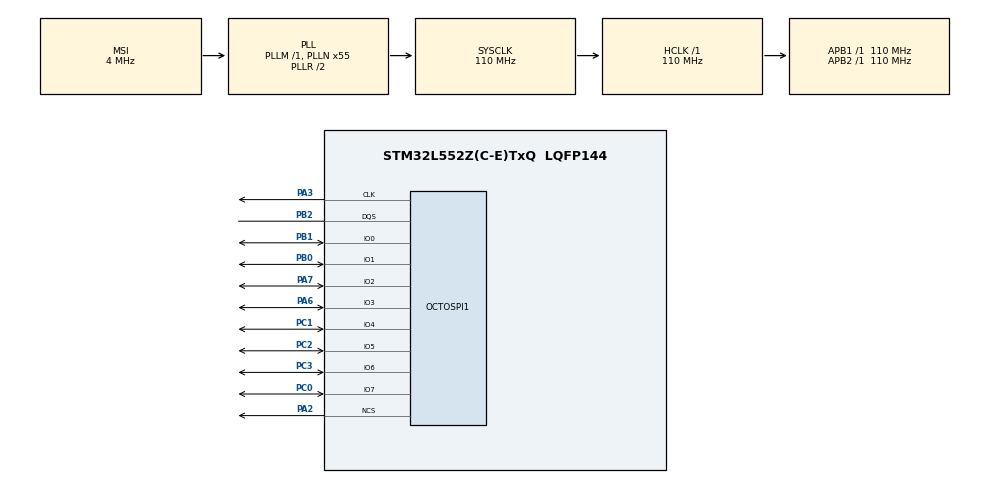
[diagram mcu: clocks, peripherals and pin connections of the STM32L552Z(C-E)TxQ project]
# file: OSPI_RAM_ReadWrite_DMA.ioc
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Dma.OCTOSPI1.0.Channel_PRIV_NPRIV=DMA_CHANNEL_NPRIV_DISABLE
Dma.OCTOSPI1.0.Direction=DMA_PERIPH_TO_MEMORY
Dma.OCTOSPI1.0.EventEnable=DISABLE
Dma.OCTOSPI1.0.Instance=DMA1_Channel1
Dma.OCTOSPI1.0.MemDataAlignment=DMA_MDATAALIGN_BYTE
Dma.OCTOSPI1.0.MemInc=DMA_MINC_ENABLE
Dma.OCTOSPI1.0.Mode=DMA_NORMAL
Dma.OCTOSPI1.0.PeriphDataAlignment=DMA_PDATAALIGN_BYTE
Dma.OCTOSPI1.0.PeriphInc=DMA_PINC_DISABLE
Dma.OCTOSPI1.0.Polarity=HAL_DMAMUX_REQ_GEN_RISING
Dma.OCTOSPI1.0.Priority=DMA_PRIORITY_LOW
Dma.OCTOSPI1.0.RequestNumber=1
Dma.OCTOSPI1.0.SignalID=NONE
Dma.OCTOSPI1.0.SyncEnable=DISABLE
Dma.OCTOSPI1.0.SyncPolarity=HAL_DMAMUX_SYNC_NO_EVENT
Dma.OCTOSPI1.0.SyncRequestNumber=1
Dma.OCTOSPI1.0.SyncSignalID=NONE
Dma.Request0=OCTOSPI1
Mcu.Family=STM32L5
Mcu.Name=STM32L552Z(C-E)TxQ
Mcu.Package=LQFP144
NVIC.DMA1_Channel1_IRQn=true\:0\:0\:false\:false\:true\:false\:true\:true
NVIC.OCTOSPI1_IRQn=true\:0\:0\:false\:false\:true\:true\:true\:true
NVIC.PriorityGroup=NVIC_PRIORITYGROUP_3
OCTOSPI1.AccessTime=6
OCTOSPI1.ClockPrescaler=3
OCTOSPI1.DelayBlockBypass=HAL_OSPI_DELAY_BLOCK_USED
OCTOSPI1.DelayHoldQuarterCycle=HAL_OSPI_DHQC_ENABLE
OCTOSPI1.DeviceSize=23
OCTOSPI1.FifoThreshold=2
OCTOSPI1.LatencyMode=HAL_OSPI_FIXED_LATENCY
OCTOSPI1.RWRecoveryTime=3
OCTOSPI1.WriteZeroLatency=HAL_OSPI_LATENCY_ON_WRITE
PA2.GPIO_PuPd=GPIO_PULLUP
PA2.Mode=hyperbus_mode
PA2.Signal=OCTOSPI1_NCS
PA3.Mode=hyperbus_mode
PA3.Signal=OCTOSPI1_CLK
PA6.Mode=hyperbus_mode
PA6.Signal=OCTOSPI1_IO3
PA7.Mode=hyperbus_mode
PA7.Signal=OCTOSPI1_IO2
PB0.Mode=hyperbus_mode
PB0.Signal=OCTOSPI1_IO1
PB1.Mode=hyperbus_mode
PB1.Signal=OCTOSPI1_IO0
PB2.Mode=hyperbus_mode
PB2.Signal=OCTOSPI1_DQS
PC0.Mode=hyperbus_mode
PC0.Signal=OCTOSPI1_IO7
PC1.Mode=hyperbus_mode
PC1.Signal=OCTOSPI1_IO4
PC2.Mode=hyperbus_mode
PC2.Signal=OCTOSPI1_IO5
PC3.Mode=hyperbus_mode
PC3.Signal=OCTOSPI1_IO6
ProjectManager.HeapSize=0x200
ProjectManager.StackSize=0x400
ProjectManager.TargetToolchain=EWARM V8.32
RCC.AHBFreq_Value=110000000
RCC.APB1Freq_Value=110000000
RCC.APB1TimFreq_Value=110000000
RCC.APB2Freq_Value=110000000
RCC.APB2TimFreq_Value=110000000
RCC.CortexFreq_Value=110000000
RCC.HCLKFreq_Value=110000000
RCC.HSE_VALUE=16000000
RCC.HSI48_VALUE=48000000
RCC.HSI_VALUE=16000000
RCC.LSE_VALUE=32768
RCC.MSI_VALUE=4000000
RCC.PLLN=55
RCC.SYSCLKFreq_VALUE=110000000
RCC.SYSCLKSource=RCC_SYSCLKSOURCE_PLLCLK
RCC.VCOOutputFreq_Value=220000000
VP_ICACHE_VS_ICACHE.Mode=DirectMappedCache
VP_PWR_VS_DBSignals.Mode=DisableDeadBatterySignals
board=custom

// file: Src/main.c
/* USER CODE BEGIN Header */
/**
  ******************************************************************************
  * @file    OSPI/OSPI_RAM_ReadWrite_DMA/Src/main.c
  * @author  MCD Application Team
  * @brief   This example describes how to configure and use OctoSPI through
  *          the STM32L5xx HAL API.
  ******************************************************************************
  * @attention
  *
  * Copyright (c) 2019 STMicroelectronics.
  * All rights reserved.
  *
  * This software is licensed under terms that can be found in the LICENSE file
  * in the root directory of this software component.
  * If no LICENSE file comes with this software, it is provided AS-IS.
  *
  ******************************************************************************
  */
/* USER CODE END Header */
#include "main.h"

OSPI_HandleTypeDef hospi1;
DMA_HandleTypeDef hdma_octospi1;

/* USER CODE BEGIN PV */
__IO uint8_t RxCplt, TxCplt;

/* Buffer used for transmission */
uint8_t aTxBuffer[] = " ****OSPI communication based on DMA****  ****OSPI communication based on DMA****  ****OSPI communication based on DMA****  ****OSPI communication based on DMA****  ****OSPI communication based on DMA****  ****OSPI communication based on DMA**** ";

/* Buffer used for reception */
uint8_t aRxBuffer[BUFFERSIZE];
/* USER CODE END PV */

void SystemClock_Config(void);
static void MX_GPIO_Init(void);
static void MX_DMA_Init(void);
static void MX_ICACHE_Init(void);
static void MX_OCTOSPI1_Init(void);

int main(void)
{
  /* USER CODE BEGIN 1 */
  OSPI_HyperbusCmdTypeDef sCommand;

  uint32_t address = 0;
  uint16_t index;
  __IO uint8_t step = 0;
  /* USER CODE END 1 */

  /* MCU Configuration--------------------------------------------------------*/

  /* Reset of all peripherals, Initializes the Flash interface and the Systick. */
  HAL_Init();

  /* Configure the system clock */
  SystemClock_Config();

  /* USER CODE BEGIN SysInit */
  BSP_LED_Init(LED_GREEN);
  BSP_LED_Init(LED_RED);
  /* USER CODE END SysInit */

  /* Initialize all configured peripherals */
  MX_GPIO_Init();
  MX_DMA_Init();
  MX_ICACHE_Init();
  MX_OCTOSPI1_Init();
  /* USER CODE BEGIN 2 */

  /* Caution: Despite instruction cache is enabled, no need for cache invalidation here */
  /*          since no previous fetch (read/execute) instructions were executed on      */
  /*          a different memory content                                                */

  /* Initialize the command ------------------------------------------------- */
  sCommand.AddressSpace = HAL_OSPI_MEMORY_ADDRESS_SPACE;
  sCommand.AddressSize  = HAL_OSPI_ADDRESS_32_BITS;
  sCommand.DQSMode      = HAL_OSPI_DQS_ENABLE;
  /* USER CODE END 2 */

  /* Infinite loop */
  /* USER CODE BEGIN WHILE */
  while (1)
  {
    switch(step)
    {
      case 0:
        TxCplt = 0;

        /* Initialize Reception buffer -------------------------------------- */
        for (index = 0; index < BUFFERSIZE; index++)
        {
          aRxBuffer[index] = 0;
        }

        /* Writing Sequence ------------------------------------------------- */
        sCommand.Address = address;
        sCommand.NbData  = BUFFERSIZE;

        if (HAL_OSPI_HyperbusCmd(&hospi1, &sCommand, HAL_OSPI_TIMEOUT_DEFAULT_VALUE) != HAL_OK)
        {
          Error_Handler();
        }

        if (HAL_OSPI_Transmit_DMA(&hospi1, aTxBuffer) != HAL_OK)
        {
          Error_Handler();
        }

        step++;
        break;

      case 1:
        if(TxCplt != 0)
        {
          TxCplt = 0;
          RxCplt = 0;

          /* Reading Sequence ----------------------------------------------- */
          if (HAL_OSPI_HyperbusCmd(&hospi1, &sCommand, HAL_OSPI_TIMEOUT_DEFAULT_VALUE) != HAL_OK)
          {
            Error_Handler();
          }

          if (HAL_OSPI_Receive_DMA(&hospi1, aRxBuffer) != HAL_OK)
          {
            Error_Handler();
          }
          step++;
        }
        break;

      case 2:
        if (RxCplt != 0)
        {
          RxCplt = 0;

          /* Result comparison ---------------------------------------------- */
          for (index = 0; index < BUFFERSIZE; index++)
          {
            if (aRxBuffer[index] != aTxBuffer[index])
            {
              BSP_LED_On(LED_RED);
            }
          }
          BSP_LED_Toggle(LED_GREEN);
          HAL_Delay(50);

          address += OSPI_HYPERRAM_INCR_SIZE;
          if(address >= OSPI_HYPERRAM_END_ADDR)
          {
            address = 0;
          }
          step = 0;
        }
        break;

      default :
        Error_Handler();
    }
    /* USER CODE END WHILE */

  }
}

void SystemClock_Config(void)
{
  RCC_OscInitTypeDef RCC_OscInitStruct = {0};
  RCC_ClkInitTypeDef RCC_ClkInitStruct = {0};

  /** Configure the main internal regulator output voltage
  */
  if (HAL_PWREx_ControlVoltageScaling(PWR_REGULATOR_VOLTAGE_SCALE0) != HAL_OK)
  {
    Error_Handler();
  }

  /** Initializes the RCC Oscillators according to the specified parameters
  * in the RCC_OscInitTypeDef structure.
  */
  RCC_OscInitStruct.OscillatorType = RCC_OSCILLATORTYPE_MSI;
  RCC_OscInitStruct.MSIState = RCC_MSI_ON;
  RCC_OscInitStruct.MSICalibrationValue = RCC_MSICALIBRATION_DEFAULT;
  RCC_OscInitStruct.MSIClockRange = RCC_MSIRANGE_6;
  RCC_OscInitStruct.PLL.PLLState = RCC_PLL_ON;
  RCC_OscInitStruct.PLL.PLLSource = RCC_PLLSOURCE_MSI;
  RCC_OscInitStruct.PLL.PLLM = 1;
  RCC_OscInitStruct.PLL.PLLN = 55;
  RCC_OscInitStruct.PLL.PLLP = RCC_PLLP_DIV7;
  RCC_OscInitStruct.PLL.PLLQ = RCC_PLLQ_DIV2;
  RCC_OscInitStruct.PLL.PLLR = RCC_PLLR_DIV2;
  if (HAL_RCC_OscConfig(&RCC_OscInitStruct) != HAL_OK)
  {
    Error_Handler();
  }

  /** Initializes the CPU, AHB and APB buses clocks
  */
  RCC_ClkInitStruct.ClockType = RCC_CLOCKTYPE_HCLK|RCC_CLOCKTYPE_SYSCLK
                              |RCC_CLOCKTYPE_PCLK1|RCC_CLOCKTYPE_PCLK2;
  RCC_ClkInitStruct.SYSCLKSource = RCC_SYSCLKSOURCE_PLLCLK;
  RCC_ClkInitStruct.AHBCLKDivider = RCC_SYSCLK_DIV1;
  RCC_ClkInitStruct.APB1CLKDivider = RCC_HCLK_DIV1;
  RCC_ClkInitStruct.APB2CLKDivider = RCC_HCLK_DIV1;

  if (HAL_RCC_ClockConfig(&RCC_ClkInitStruct, FLASH_LATENCY_5) != HAL_OK)
  {
    Error_Handler();
  }
}

static void MX_ICACHE_Init(void)
{

  /** Enable instruction cache in 1-way (direct mapped cache)
  */
  if (HAL_ICACHE_ConfigAssociativityMode(ICACHE_1WAY) != HAL_OK)
  {
    Error_Handler();
  }
  if (HAL_ICACHE_Enable() != HAL_OK)
  {
    Error_Handler();
  }

}

static void MX_OCTOSPI1_Init(void)
{

  OSPI_HyperbusCfgTypeDef sHyperBusCfg = {0};

  /* OCTOSPI1 parameter configuration*/
  hospi1.Instance = OCTOSPI1;
  hospi1.Init.FifoThreshold = 2;
  hospi1.Init.DualQuad = HAL_OSPI_DUALQUAD_DISABLE;
  hospi1.Init.MemoryType = HAL_OSPI_MEMTYPE_HYPERBUS;
  hospi1.Init.DeviceSize = 23;
  hospi1.Init.ChipSelectHighTime = 1;
  hospi1.Init.FreeRunningClock = HAL_OSPI_FREERUNCLK_DISABLE;
  hospi1.Init.ClockMode = HAL_OSPI_CLOCK_MODE_0;
  hospi1.Init.WrapSize = HAL_OSPI_WRAP_NOT_SUPPORTED;
  hospi1.Init.ClockPrescaler = 3;
  hospi1.Init.SampleShifting = HAL_OSPI_SAMPLE_SHIFTING_NONE;
  hospi1.Init.DelayHoldQuarterCycle = HAL_OSPI_DHQC_ENABLE;
  hospi1.Init.ChipSelectBoundary = 0;
  hospi1.Init.DelayBlockBypass = HAL_OSPI_DELAY_BLOCK_USED;
  hospi1.Init.Refresh = 0;
  if (HAL_OSPI_Init(&hospi1) != HAL_OK)
  {
    Error_Handler();
  }
  sHyperBusCfg.RWRecoveryTime = 3;
  sHyperBusCfg.AccessTime = 6;
  sHyperBusCfg.WriteZeroLatency = HAL_OSPI_LATENCY_ON_WRITE;
  sHyperBusCfg.LatencyMode = HAL_OSPI_FIXED_LATENCY;
  if (HAL_OSPI_HyperbusCfg(&hospi1, &sHyperBusCfg, HAL_OSPI_TIMEOUT_DEFAULT_VALUE) != HAL_OK)
  {
    Error_Handler();
  }

}

static void MX_DMA_Init(void)
{

  /* DMA controller clock enable */
  __HAL_RCC_DMAMUX1_CLK_ENABLE();
  __HAL_RCC_DMA1_CLK_ENABLE();

  /* DMA interrupt init */
  /* DMA1_Channel1_IRQn interrupt configuration */
  HAL_NVIC_SetPriority(DMA1_Channel1_IRQn, 0, 0);
  HAL_NVIC_EnableIRQ(DMA1_Channel1_IRQn);

}

static void MX_GPIO_Init(void)
{

  /* GPIO Ports Clock Enable */
  __HAL_RCC_GPIOC_CLK_ENABLE();
  __HAL_RCC_GPIOA_CLK_ENABLE();
  __HAL_RCC_GPIOB_CLK_ENABLE();

}

/* USER CODE BEGIN 4 */
/**
  * @brief  Rx Transfer completed callback.
  * @param  hospi: OSPI handle
  * @retval None
  */
void HAL_OSPI_RxCpltCallback(OSPI_HandleTypeDef *hospi)
{
  RxCplt++;
}

/**
  * @brief  Tx Transfer completed callback.
  * @param  hospi: OSPI handle
  * @retval None
  */
 void HAL_OSPI_TxCpltCallback(OSPI_HandleTypeDef *hospi)
{
  TxCplt++;
}

/**
  * @brief  Transfer Error callback.
  * @param  hospi: OSPI handle
  * @retval None
  */
void HAL_OSPI_ErrorCallback(OSPI_HandleTypeDef *hospi)
{
  Error_Handler();
}
/* USER CODE END 4 */

void Error_Handler(void)
{
  /* USER CODE BEGIN Error_Handler_Debug */
  BSP_LED_On(LED_RED);

  /* User may add here some code to deal with this error */
  while(1)
  {
    HAL_Delay(100);
    BSP_LED_Toggle(LED_RED);
  }
  /* USER CODE END Error_Handler_Debug */
}
